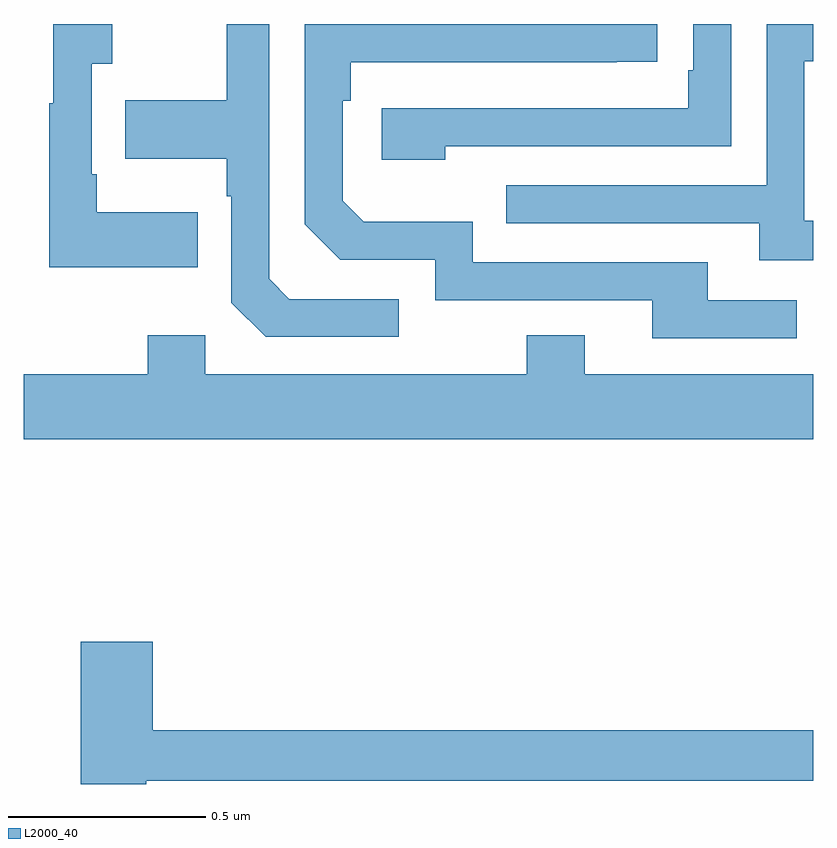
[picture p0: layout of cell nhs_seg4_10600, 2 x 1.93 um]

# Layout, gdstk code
import gdstk
lib = gdstk.Library(unit=1e-6, precision=1e-09)
def P(c, l, *ps):  # polygons
    for p in ps: c.add(gdstk.Polygon(p, *l))
L2000_40 = (2000, 40)

nhs_seg4_10600 = lib.new_cell('nhs_seg4_10600')
P(nhs_seg4_10600, L2000_40, [(244,769.401),(243.978,769.401),(243.978,769.806),(244,769.806),(244,769.9),(243.882,769.9),(243.882,769.491),(243.223,769.491),(243.223,769.395),(243.863,769.395),(243.863,769.301),(244,769.301)],
  [(242.441,769.423),(242.185,769.423),(242.185,769.519),(242.172,769.519),(242.172,769.799),(242.224,769.799),(242.224,769.9),(242.075,769.9),(242.075,769.699),(242.064,769.699),(242.064,769.283),(242.441,769.283)],
  [(242.95,769.203),(242.673,769.203),(242.622,769.254),(242.622,769.9),(242.514,769.9),(242.514,769.707),(242.257,769.707),(242.257,769.559),(242.514,769.559),(242.514,769.463),(242.526,769.463),(242.526,769.194),(242.613,769.107),(242.95,769.107)],
  [(243.958,769.2),(243.733,769.2),(243.733,769.296),(243.138,769.296),(243.138,769.399),(242.861,769.399),(242.808,769.452),(242.808,769.706),(242.828,769.706),(242.828,769.803),(243.503,769.803),(243.503,769.804),(243.605,769.804),(243.605,769.9),(243.509,769.9),(243.509,769.899),(243.119,769.899),(243.119,769.9),(243.007,769.9),(243.007,769.899),(242.712,769.899),(242.712,769.392),(242.802,769.302),(243.042,769.302),(243.042,769.2),(243.593,769.2),(243.593,769.104),(243.958,769.104)],
  [(243.068,769.59),(243.792,769.59),(243.792,769.9),(243.696,769.9),(243.696,769.783),(243.683,769.783),(243.683,769.686),(242.907,769.686),(242.907,769.556),(243.068,769.556)],
  [(244,769.012),(243.421,769.012),(243.421,769.111),(243.274,769.111),(243.274,769.012),(242.46,769.012),(242.46,769.111),(242.314,769.111),(242.314,769.012),(242,769.012),(242,768.848),(244,768.848)],
  [(242.31,767.982),(244,767.982),(244,768.11),(242.327,768.11),(242.327,768.334),(242.144,768.334),(242.144,767.974),(242.31,767.974)])

lib.write_gds('nhs_seg4_10600.gds')
